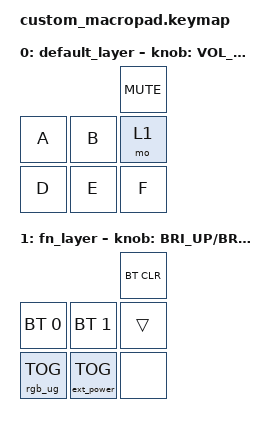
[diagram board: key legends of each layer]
#include <behaviors.dtsi>
#include <dt-bindings/zmk/keys.h>
#include <dt-bindings/zmk/rgb.h>
#include <dt-bindings/zmk/bt.h>
#include <dt-bindings/zmk/ext_power.h>

/ {
    keymap {
        compatible = "zmk,keymap";

        default_layer {
            bindings = <
                                &kp C_MUTE
                &kp A   &kp B   &mo 1
                &kp D   &kp E   &kp F
            >;
            
            sensor-bindings = <&inc_dec_kp C_VOL_UP C_VOL_DN>;
        };

        fn_layer {
            bindings = <
                                                &bt BT_CLR
                &bt BT_SEL 0    &bt BT_SEL 1    &trans
                &rgb_ug RGB_TOG &ext_power EP_TOG &none
            >;

            sensor-bindings = <&inc_dec_kp C_BRI_UP C_BRI_DN>;
        };
    };
};
